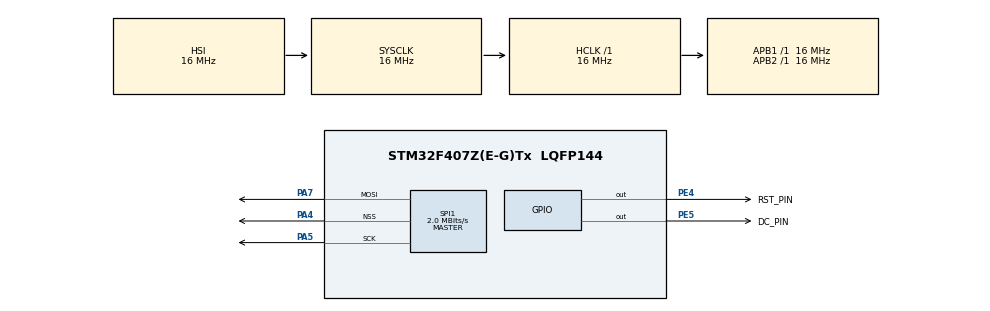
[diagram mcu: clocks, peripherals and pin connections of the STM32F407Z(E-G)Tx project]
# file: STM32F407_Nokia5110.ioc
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Mcu.Family=STM32F4
Mcu.Name=STM32F407Z(E-G)Tx
Mcu.Package=LQFP144
NVIC.PriorityGroup=NVIC_PRIORITYGROUP_4
PA4.Mode=NSS_Signal_Hard_Output
PA4.Signal=SPI1_NSS
PA5.Mode=TX_Only_Simplex_Unidirect_Master
PA5.Signal=SPI1_SCK
PA7.Mode=TX_Only_Simplex_Unidirect_Master
PA7.Signal=SPI1_MOSI
PE4.GPIO_Label=RST_PIN
PE4.GPIO_PuPd=GPIO_PULLUP
PE4.Signal=GPIO_Output
PE5.GPIO_Label=DC_PIN
PE5.GPIO_PuPd=GPIO_PULLUP
PE5.Signal=GPIO_Output
ProjectManager.HeapSize=0x200
ProjectManager.StackSize=0x400
ProjectManager.TargetToolchain=MDK-ARM V5
RCC.AHBFreq_Value=16000000
RCC.APB1Freq_Value=16000000
RCC.APB2Freq_Value=16000000
RCC.CortexFreq_Value=16000000
RCC.HSE_VALUE=25000000
RCC.HSI_VALUE=16000000
RCC.LSE_VALUE=32768
RCC.SYSCLKFreq_VALUE=16000000
RCC.VCOOutputFreq_Value=192000000
SPI1.BaudRatePrescaler=SPI_BAUDRATEPRESCALER_8
SPI1.CalculateBaudRate=2.0 MBits/s
SPI1.Direction=SPI_DIRECTION_2LINES
SPI1.Mode=SPI_MODE_MASTER
SPI1.VirtualNSS=VM_NSSHARD
SPI1.VirtualType=VM_MASTER
board=custom

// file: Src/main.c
/* USER CODE BEGIN Header */
/**
  ******************************************************************************
  * @file           : main.c
  * @brief          : Main program body
  ******************************************************************************
  ** This notice applies to any and all portions of this file
  * that are not between comment pairs USER CODE BEGIN and
  * USER CODE END. Other portions of this file, whether
  * inserted by the user or by software development tools
  * are owned by their respective copyright owners.
  *
  * COPYRIGHT(c) 2018 STMicroelectronics
  *
  * Redistribution and use in source and binary forms, with or without modification,
  * are permitted provided that the following conditions are met:
  *   1. Redistributions of source code must retain the above copyright notice,
  *      this list of conditions and the following disclaimer.
  *   2. Redistributions in binary form must reproduce the above copyright notice,
  *      this list of conditions and the following disclaimer in the documentation
  *      and/or other materials provided with the distribution.
  *   3. Neither the name of STMicroelectronics nor the names of its contributors
  *      may be used to endorse or promote products derived from this software
  *      without specific prior written permission.
  *
  * THIS SOFTWARE IS PROVIDED BY THE COPYRIGHT HOLDERS AND CONTRIBUTORS "AS IS"
  * AND ANY EXPRESS OR IMPLIED WARRANTIES, INCLUDING, BUT NOT LIMITED TO, THE
  * IMPLIED WARRANTIES OF MERCHANTABILITY AND FITNESS FOR A PARTICULAR PURPOSE ARE
  * DISCLAIMED. IN NO EVENT SHALL THE COPYRIGHT HOLDER OR CONTRIBUTORS BE LIABLE
  * FOR ANY DIRECT, INDIRECT, INCIDENTAL, SPECIAL, EXEMPLARY, OR CONSEQUENTIAL
  * DAMAGES (INCLUDING, BUT NOT LIMITED TO, PROCUREMENT OF SUBSTITUTE GOODS OR
  * SERVICES; LOSS OF USE, DATA, OR PROFITS; OR BUSINESS INTERRUPTION) HOWEVER
  * CAUSED AND ON ANY THEORY OF LIABILITY, WHETHER IN CONTRACT, STRICT LIABILITY,
  * OR TORT (INCLUDING NEGLIGENCE OR OTHERWISE) ARISING IN ANY WAY OUT OF THE USE
  * OF THIS SOFTWARE, EVEN IF ADVISED OF THE POSSIBILITY OF SUCH DAMAGE.
  *
  ******************************************************************************
  */
/* USER CODE END Header */

#include "main.h"

SPI_HandleTypeDef hspi1;

void SystemClock_Config(void);
static void MX_GPIO_Init(void);
static void MX_SPI1_Init(void);
void LCD_init(void);
void LCD_write_byte(unsigned char data, unsigned char dc);
void LCD_clear(void);
void LCD_write_string(unsigned char x,unsigned char y,char *s);

int main(void)
{

  /* MCU Configuration--------------------------------------------------------*/

  /* Reset of all peripherals, Initializes the Flash interface and the Systick. */
  HAL_Init();

  /* Configure the system clock */
  SystemClock_Config();

  /* Initialize all configured peripherals */
  MX_GPIO_Init();
  MX_SPI1_Init();
	LCD_init();

  /* Infinite loop */
  while (1)
  {
    LCD_clear();
    for (int j=0; j<6; j++){
			LCD_write_string(0,j,"Hello World!");
      HAL_Delay(500);
		}
  }
}

void SystemClock_Config(void)
{
  RCC_OscInitTypeDef RCC_OscInitStruct = {0};
  RCC_ClkInitTypeDef RCC_ClkInitStruct = {0};

  /**Configure the main internal regulator output voltage
  */
  __HAL_RCC_PWR_CLK_ENABLE();
  __HAL_PWR_VOLTAGESCALING_CONFIG(PWR_REGULATOR_VOLTAGE_SCALE1);
  /**Initializes the CPU, AHB and APB busses clocks
  */
  RCC_OscInitStruct.OscillatorType = RCC_OSCILLATORTYPE_HSI;
  RCC_OscInitStruct.HSIState = RCC_HSI_ON;
  RCC_OscInitStruct.HSICalibrationValue = RCC_HSICALIBRATION_DEFAULT;
  RCC_OscInitStruct.PLL.PLLState = RCC_PLL_NONE;
  if (HAL_RCC_OscConfig(&RCC_OscInitStruct) != HAL_OK)
  {
    Error_Handler();
  }
  /**Initializes the CPU, AHB and APB busses clocks
  */
  RCC_ClkInitStruct.ClockType = RCC_CLOCKTYPE_HCLK|RCC_CLOCKTYPE_SYSCLK
                              |RCC_CLOCKTYPE_PCLK1|RCC_CLOCKTYPE_PCLK2;
  RCC_ClkInitStruct.SYSCLKSource = RCC_SYSCLKSOURCE_HSI;
  RCC_ClkInitStruct.AHBCLKDivider = RCC_SYSCLK_DIV1;
  RCC_ClkInitStruct.APB1CLKDivider = RCC_HCLK_DIV1;
  RCC_ClkInitStruct.APB2CLKDivider = RCC_HCLK_DIV1;

  if (HAL_RCC_ClockConfig(&RCC_ClkInitStruct, FLASH_LATENCY_0) != HAL_OK)
  {
    Error_Handler();
  }
}

static void MX_SPI1_Init(void)
{

  /* SPI1 parameter configuration*/
  hspi1.Instance = SPI1;
  hspi1.Init.Mode = SPI_MODE_MASTER;
  hspi1.Init.Direction = SPI_DIRECTION_2LINES;
  hspi1.Init.DataSize = SPI_DATASIZE_8BIT;
  hspi1.Init.CLKPolarity = SPI_POLARITY_HIGH;
  hspi1.Init.CLKPhase = SPI_PHASE_2EDGE;
  hspi1.Init.NSS = SPI_NSS_HARD_OUTPUT;
  hspi1.Init.BaudRatePrescaler = SPI_BAUDRATEPRESCALER_8;
  hspi1.Init.FirstBit = SPI_FIRSTBIT_MSB;
  hspi1.Init.TIMode = SPI_TIMODE_DISABLE;
  hspi1.Init.CRCCalculation = SPI_CRCCALCULATION_DISABLE;
  hspi1.Init.CRCPolynomial = 10;
  if (HAL_SPI_Init(&hspi1) != HAL_OK)
  {
    Error_Handler();
  }

}

static void MX_GPIO_Init(void)
{
  GPIO_InitTypeDef GPIO_InitStruct = {0};

  /* GPIO Ports Clock Enable */
  __HAL_RCC_GPIOE_CLK_ENABLE();
  __HAL_RCC_GPIOA_CLK_ENABLE();

  /*Configure GPIO pin Output Level */
  HAL_GPIO_WritePin(GPIOE, RST_PIN_Pin|DC_PIN_Pin, GPIO_PIN_SET);

  /*Configure GPIO pins : RST_PIN_Pin DC_PIN_Pin */
  GPIO_InitStruct.Pin = RST_PIN_Pin|DC_PIN_Pin;
  GPIO_InitStruct.Mode = GPIO_MODE_OUTPUT_PP;
  GPIO_InitStruct.Pull = GPIO_PULLUP;
  GPIO_InitStruct.Speed = GPIO_SPEED_FREQ_LOW;
  HAL_GPIO_Init(GPIOE, &GPIO_InitStruct);

}

/* USER CODE BEGIN 4 */

void LCD_init(void) {
HAL_GPIO_WritePin(GPIOE, RST_PIN_Pin, GPIO_PIN_RESET);  //RST = LOW
HAL_Delay(1);
HAL_GPIO_WritePin(GPIOE, RST_PIN_Pin, GPIO_PIN_SET);  //RST = HIGH
HAL_Delay(2);
LCD_write_byte (0x21, 0); // use the extended command set the LCD mode
LCD_write_byte (0xAF, 0); // set the contrast
//LCD_write_byte (0x14, 0); // set the bias voltage
LCD_write_byte (0x04, 0); // temperature correction
LCD_write_byte (0x13, 0); // 1:48
LCD_write_byte (0x20, 0); // use basic commands
LCD_clear (); // clear the screen
LCD_write_byte (0x0c, 0); // set display mode, the normal display

}

/* LCD_write-byte */
void LCD_write_byte(unsigned char data, unsigned char dc) {
int i;
__HAL_SPI_ENABLE(&hspi1);            /* Enable the SPI (Clock e CS)  */

//delayMs(1);                      /* aguarda estabilizar o clock */
//for (i=0; i<1000; i++){};

if(dc) { HAL_GPIO_WritePin(GPIOE, DC_PIN_Pin, GPIO_PIN_SET);} // DC = 1 (DATA)
       else HAL_GPIO_WritePin(GPIOE, DC_PIN_Pin, GPIO_PIN_RESET); // DC = 0 (COMMAND)

while(!(SPI1->SR & SPI_SR_TXE)){}; // Aguarda atИ o Buffer de TX estiver vazio
SPI1->DR = data; // TX character

__HAL_SPI_DISABLE(&hspi1);;           /* Disable the SPI (clock e CS)  */

}

/* LCD_clear */
void LCD_clear(void) {
unsigned int i;
LCD_write_byte(0x0c, 0);
LCD_write_byte(0x80, 0);
for (i=0; i<504; i++)
LCD_write_byte(0, 1);
}

// LCD_set_XY: posiciona o cursor
// x: coluna (0-83)
// y: linha (0-5)
void LCD_set_XY(unsigned char X, unsigned char Y)
{
LCD_write_byte(0x40 | Y, 0); // column
LCD_write_byte(0x80 | X, 0); // row
}

/*LCD_write_char */
void LCD_write_char(unsigned char c) {
unsigned char line;
for (line=0; line<5; line++)
LCD_write_byte(ASCII[c-32][line], 1);
}

/*LCD_write_string */
void LCD_write_string(unsigned char x,unsigned char y,char *s) {
LCD_set_XY(x,y);
while (*s) LCD_write_char(*s++);
}

/* USER CODE END 4 */

void Error_Handler(void)
{
}

/************************ (C) COPYRIGHT STMicroelectronics *****END OF FILE****/
